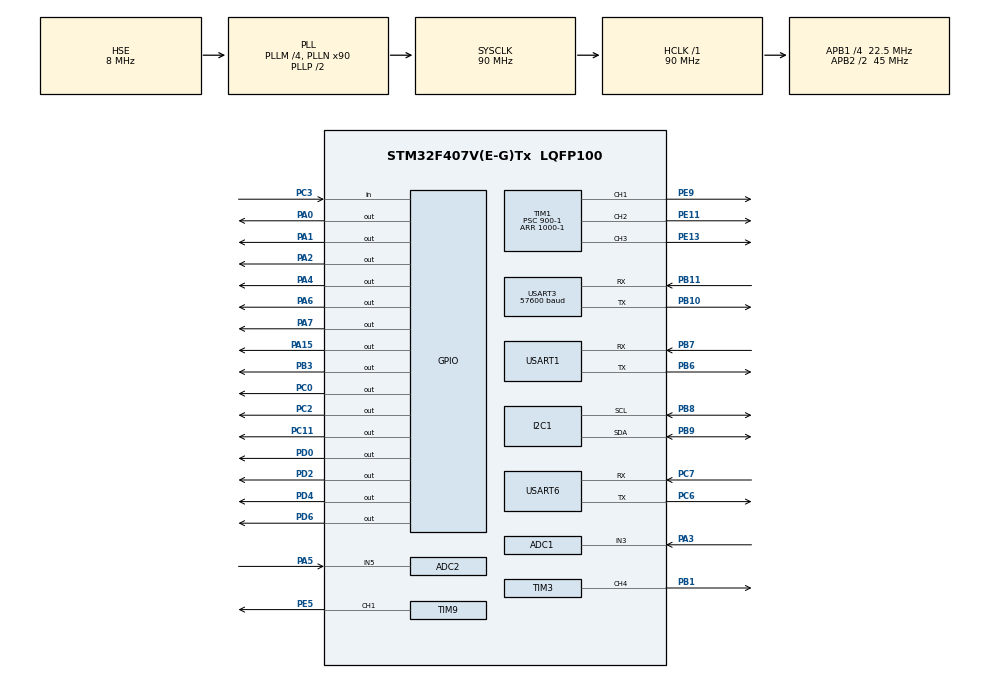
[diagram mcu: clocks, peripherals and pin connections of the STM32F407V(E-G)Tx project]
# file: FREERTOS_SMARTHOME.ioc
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ADC1.Channel-0\#ChannelRegularConversion=ADC_CHANNEL_3
ADC1.ClockPrescaler=ADC_CLOCK_SYNC_PCLK_DIV4
ADC1.NbrOfConversionFlag=1
ADC1.Rank-0\#ChannelRegularConversion=1
ADC1.SamplingTime-0\#ChannelRegularConversion=ADC_SAMPLETIME_3CYCLES
ADC1.master=1
ADC2.Channel-0\#ChannelRegularConversion=ADC_CHANNEL_5
ADC2.ClockPrescaler=ADC_CLOCK_SYNC_PCLK_DIV4
ADC2.NbrOfConversionFlag=1
ADC2.Rank-0\#ChannelRegularConversion=1
ADC2.SamplingTime-0\#ChannelRegularConversion=ADC_SAMPLETIME_3CYCLES
FREERTOS.Tasks01=Read_sensor,0,128,Read_sensorTask,Default,NULL,Dynamic,NULL,NULL;Finger_print,-2,128,Finger_printTask,Default,NULL,Dynamic,NULL,NULL;Uart_read,2,128,Uart_readTask,Default,NULL,Dynamic,NULL,NULL
Mcu.Family=STM32F4
Mcu.Name=STM32F407V(E-G)Tx
Mcu.Package=LQFP100
NVIC.PriorityGroup=NVIC_PRIORITYGROUP_4
NVIC.TIM1_UP_TIM10_IRQn=true\:0\:0\:false\:false\:true\:false\:false\:true
NVIC.TimeBase=TIM1_UP_TIM10_IRQn
NVIC.TimeBaseIP=TIM10
NVIC.USART1_IRQn=true\:5\:0\:false\:false\:true\:true\:true\:true
NVIC.USART3_IRQn=true\:5\:0\:false\:false\:true\:true\:true\:true
NVIC.USART6_IRQn=true\:5\:0\:false\:false\:true\:true\:true\:true
PA0-WKUP.Signal=GPIO_Output
PA1.Signal=GPIO_Output
PA15.Signal=GPIO_Output
PA2.Signal=GPIO_Output
PA3.Signal=ADCx_IN3
PA4.Signal=GPIO_Output
PA5.Signal=ADCx_IN5
PA6.Signal=GPIO_Output
PA7.Signal=GPIO_Output
PB1.Signal=S_TIM3_CH4
PB10.Mode=Asynchronous
PB10.Signal=USART3_TX
PB11.Mode=Asynchronous
PB11.Signal=USART3_RX
PB3.Signal=GPIO_Output
PB6.Mode=Asynchronous
PB6.Signal=USART1_TX
PB7.Mode=Asynchronous
PB7.Signal=USART1_RX
PB8.Mode=I2C
PB8.Signal=I2C1_SCL
PB9.Mode=I2C
PB9.Signal=I2C1_SDA
PC0.Signal=GPIO_Output
PC11.Signal=GPIO_Output
PC2.Signal=GPIO_Output
PC3.Signal=GPIO_Input
PC6.Mode=Asynchronous
PC6.Signal=USART6_TX
PC7.Mode=Asynchronous
PC7.Signal=USART6_RX
PD0.Signal=GPIO_Output
PD2.Signal=GPIO_Output
PD4.Signal=GPIO_Output
PD6.Signal=GPIO_Output
PE11.Signal=S_TIM1_CH2
PE13.Signal=S_TIM1_CH3
PE5.Signal=S_TIM9_CH1
PE9.Signal=S_TIM1_CH1
PH0-OSC_IN.Mode=HSE-External-Oscillator
PH0-OSC_IN.Signal=RCC_OSC_IN
PH1-OSC_OUT.Mode=HSE-External-Oscillator
PH1-OSC_OUT.Signal=RCC_OSC_OUT
ProjectManager.HeapSize=0x200
ProjectManager.StackSize=0x400
ProjectManager.TargetToolchain=MDK-ARM V5
RCC.48MHZClocksFreq_Value=45000000
RCC.AHBFreq_Value=90000000
RCC.APB1CLKDivider=RCC_HCLK_DIV4
RCC.APB1Freq_Value=22500000
RCC.APB1TimFreq_Value=45000000
RCC.APB2CLKDivider=RCC_HCLK_DIV2
RCC.APB2Freq_Value=45000000
RCC.APB2TimFreq_Value=90000000
RCC.CortexFreq_Value=90000000
RCC.HCLKFreq_Value=90000000
RCC.HSE_VALUE=8000000
RCC.HSI_VALUE=16000000
RCC.LSE_VALUE=32768
RCC.PLLM=4
RCC.PLLN=90
RCC.PLLSourceVirtual=RCC_PLLSOURCE_HSE
RCC.SYSCLKFreq_VALUE=90000000
RCC.SYSCLKSource=RCC_SYSCLKSOURCE_PLLCLK
RCC.VCOOutputFreq_Value=180000000
SH.ADCx_IN3.0=ADC1_IN3,IN3
SH.ADCx_IN5.0=ADC2_IN5,IN5
SH.S_TIM1_CH1.0=TIM1_CH1,PWM Generation1 CH1
SH.S_TIM1_CH2.0=TIM1_CH2,PWM Generation2 CH2
SH.S_TIM1_CH3.0=TIM1_CH3,PWM Generation3 CH3
SH.S_TIM3_CH4.0=TIM3_CH4,PWM Generation4 CH4
SH.S_TIM9_CH1.0=TIM9_CH1,PWM Generation1 CH1
TIM1.Channel-PWM\ Generation1\ CH1=TIM_CHANNEL_1
TIM1.Channel-PWM\ Generation2\ CH2=TIM_CHANNEL_2
TIM1.Channel-PWM\ Generation3\ CH3=TIM_CHANNEL_3
TIM1.Period=1000-1
TIM1.Prescaler=900-1
TIM3.Channel-PWM\ Generation4\ CH4=TIM_CHANNEL_4
TIM3.Period=1000-1
TIM3.Prescaler=900-1
TIM9.Channel-PWM\ Generation1\ CH1=TIM_CHANNEL_1
TIM9.Period=100-1
TIM9.Prescaler=900-1
USART1.VirtualMode=VM_ASYNC
USART3.BaudRate=57600
USART3.VirtualMode=VM_ASYNC
USART6.VirtualMode=VM_ASYNC
VP_FREERTOS_VS_CMSIS_V1.Mode=CMSIS_V1
VP_SYS_VS_tim10.Mode=TIM10
VP_TIM1_VS_ClockSourceINT.Mode=Internal
VP_TIM3_VS_ClockSourceINT.Mode=Internal
VP_TIM9_VS_ClockSourceINT.Mode=Internal
board=custom

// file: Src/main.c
#include "main.h"
#include "cmsis_os.h"

#include "stdio.h"
#include "string.h"
/* USER CODE BEGIN Includes */
#include "dht11.h"
#include "GAS.h"
#include "lcd_16x2.h"
#include "lcd_20x4.h"
#include "Light_sensor.h"
#include "music.h"
#include "PIR.h"
#include "Rain.h"
#include "Servo.h"
#include "finger.h"
#include "lib_keypad.h"
/* USER CODE END Includes */

ADC_HandleTypeDef hadc1;
ADC_HandleTypeDef hadc2;

I2C_HandleTypeDef hi2c1;

TIM_HandleTypeDef htim1;
TIM_HandleTypeDef htim3;
TIM_HandleTypeDef htim9;

UART_HandleTypeDef huart1;
UART_HandleTypeDef huart3;
UART_HandleTypeDef huart6;

osThreadId Read_sensorHandle;
osThreadId Finger_printHandle;
osThreadId Uart_readHandle;

void SystemClock_Config(void);
static void MX_GPIO_Init(void);
static void MX_ADC1_Init(void);
static void MX_ADC2_Init(void);
static void MX_I2C1_Init(void);
static void MX_TIM1_Init(void);
static void MX_TIM3_Init(void);
static void MX_TIM9_Init(void);
static void MX_USART1_UART_Init(void);
static void MX_USART3_UART_Init(void);
static void MX_USART6_UART_Init(void);
void Read_sensorTask(void const * argument);
void Finger_printTask(void const * argument);
void Uart_readTask(void const * argument);

/* USER CODE BEGIN PFP */
/* Data read DHT11 */
unsigned char data_read_dht11[4];

/* Data old */
unsigned char data_old_dht11[4];
uint16_t gas_data_old = 0;
uint8_t pir_data_old = 0;
uint8_t rain_data_old = 0;
uint8_t light_data_old = 0;

/* Data before read sensor, wait to send */
char data_send_DHT11[17];
char data_send_GAS[14];
char data_send_PIR[7];
char data_send_RAIN[8];
char data_send_Light_sensor[9];

/* Data before update status */
char data_send_LED1[8];
char data_send_LED2[8];
char data_send_LED3[8];
char data_send_LED4[8];
char data_send_SECURITY[12];
char data_send_RELAY[9];
char data_send_FAN1[8];
char data_send_FAN2[8];
char data_send_ERASE[9]; //to erase flash EEPROM

//state will change, using to control device
int FAN1_state = 0;
int FAN2_state = 0;
int RELAY_state = 0;
int LED1_state = 0;
int LED2_state = 0;
int LED3_state = 0;
int LED4_state = 0;
int DOOR_state = 0;

int FAN1_old_state = 0;
int FAN2_old_state = 0;
int RELAY_old_state = 0;
int LED1_old_state = 0;
int LED2_old_state = 0;
int LED3_old_state = 0;
int LED4_old_state = 0;
int DOOR_old_state = 0;

/* USER CODE END PFP */

/* USER CODE BEGIN 0 */
/* Code for comunication with esp8266 using UART 1 and UART 6 */

/*	define */
#define txBuf_size 30
#define rxBuf_size 10

char tx_Buf[txBuf_size];
char rx_Buf[rxBuf_size];

char rxBuf_receive[2];
uint16_t rx_Index = 0;
char temp_receive[rxBuf_size]; //data temp read from esp
/* */
/* Function to work with FAN, LED, DOOR, RELAY */
#define ON 		1
#define OFF 	0

void control_Fan(int dir, int state){
		if (dir == 1){
			//control FAN 1 at PC2
			HAL_GPIO_WritePin(GPIOC, GPIO_PIN_2, state);
		}
		if (dir == 2){
			//control FAN 2 at PC0
			HAL_GPIO_WritePin(GPIOC, GPIO_PIN_0, state);
		}
}

void control_LED(int dir, int state){
		if (dir == 1){
			//control LED 1 at PA6
			HAL_GPIO_WritePin(GPIOA, GPIO_PIN_6, state);
		}
		if (dir == 2){
			//control LED 2 at PA4
			HAL_GPIO_WritePin(GPIOA, GPIO_PIN_4, state);
		}
		if (dir == 3){
			//control LED 3 at PA2
			HAL_GPIO_WritePin(GPIOA, GPIO_PIN_2, state);
		}
		if (dir == 4){
			//control LED 4 at PA0
			HAL_GPIO_WritePin(GPIOA, GPIO_PIN_0, state);
		}
}

void control_DOOR(int state){
	//init before
}

void control_RELAY(int state){
	//init before
}
void blink_led(){
	HAL_GPIO_TogglePin(GPIOA, GPIO_PIN_6);
}

/* Function to comunication */

static void serial_write(void* data, size_t len){
	HAL_UART_Transmit(&huart1, (uint8_t*)data, (uint16_t)len, 100);
}

void serial_send_cmd(char data[]){
		char line[txBuf_size];
		snprintf(line, sizeof(line), "%s\r\n", data);
		serial_write(line, strlen(line));
}

char* serial_read(){
	strcpy(temp_receive, rx_Buf);
	return temp_receive;
}

/* function to check connect wifi */
int check_wifi(){
	char temp[2];
	if (strncmp(serial_read(),"wifi",4)==0){
		temp[0] = temp_receive[4];
		if (temp[0] == '0'){
			return 0; //disconnected
		}
		if (temp[0] == '1'){
			return 1; //connected
		}
		if (temp[0] == '2'){
			return 2; //smartconfig
		}
	}
}

/* Function to read sensor */
void readSensor(){
		read_DHT11(data_read_dht11);
		if ((data_old_dht11[0] != data_read_dht11[0])||(data_old_dht11[2] != data_read_dht11[2])||(data_old_dht11[1] != data_read_dht11[1])||(data_old_dht11[3] != data_read_dht11[3])){
			memcpy(data_old_dht11, data_read_dht11, 4);
			//meaning data change
			sprintf(data_send_DHT11, "DHT11 %d.%d %d.%d\r\n" ,data_old_dht11[2],data_old_dht11[3],data_old_dht11[0],data_old_dht11[1]);
			serial_write(data_send_DHT11, strlen(data_send_DHT11));
			HAL_Delay(500);
		}
		/* To test, maybe use state to control device, update before */
//		if (pir_data_old != read_PIR()){
//			pir_data_old = read_PIR();
//			sprintf(data_send_PIR, "PIR %d\r\n" ,pir_data_old);
//			serial_write(data_send_PIR, strlen(data_send_PIR));
//			HAL_Delay(200);
//		}
//		if (rain_data_old != read_Rain(1000)){
//			rain_data_old = read_Rain(1000);
//			sprintf(data_send_RAIN, "RAIN %d\r\n" ,rain_data_old);
//			serial_write(data_send_RAIN, strlen(data_send_PIR));
//			HAL_Delay(200);
//		}
//		if (light_data_old != read_Light_sensor()){
//			light_data_old = read_Light_sensor();
//			sprintf(data_send_Light_sensor, "LIGHT %d\r\n" ,light_data_old);
//			serial_write(data_send_Light_sensor, strlen(data_send_Light_sensor));
//			HAL_Delay(200);
//		}

		uint16_t c = 0; //do thay doi cua cam bien gas
		c = (gas_data_old > read_GAS()) ? gas_data_old - read_GAS(): read_GAS() - gas_data_old;
		if (c > 0){
			gas_data_old = read_GAS();
			sprintf(data_send_GAS, "GAS %d\r\n" ,gas_data_old);
			serial_write(data_send_GAS, strlen(data_send_GAS));
			HAL_Delay(500);
		}
}

void sendSensor(){
		//Nothing hear
		HAL_Delay(10);
}

/* stream Firebase */
void stream(){
	char temp[2];
	//stream FAN state
	if (strncmp(serial_read(),"FAN1",4)==0){
		temp[0] = temp_receive[4];
		if (temp[0] == '0'){
			FAN1_state = 0;
		}
		if (temp[0] == '1'){
			FAN1_state = 1;
		}
	}
	if (strncmp(serial_read(),"FAN2",4)==0){
		temp[0] = temp_receive[4];
		if (temp[0] == '0'){
			FAN2_state = 0;
		}
		if (temp[0] == '1'){
			FAN2_state = 1;
		}
	}
	//stream RELAY state
	if (strncmp(serial_read(),"RELAY",4)==0){
		temp[0] = temp_receive[4];
		if (temp[0] == '0'){
			RELAY_state = 0;
		}
		if (temp[0] == '1'){
			RELAY_state = 1;
		}
	}
	//stream LED1 state
	if (strncmp(serial_read(),"LED1",4)==0){
		temp[0] = temp_receive[4];
		if (temp[0] == '0'){
			LED1_state = 0;
		}
		if (temp[0] == '1'){
			LED1_state = 1;
		}
	}
	//stream LED2 state
	if (strncmp(serial_read(),"LED2",4)==0){
		temp[0] = temp_receive[4];
		if (temp[0] == '0'){
			LED2_state = 0;
		}
		if (temp[0] == '1'){
			LED2_state = 1;
		}
	}
	//stream lED3 state
	if (strncmp(serial_read(),"LED3",4)==0){
		temp[0] = temp_receive[4];
		if (temp[0] == '0'){
			LED3_state = 0;
		}
		if (temp[0] == '1'){
			LED3_state = 1;
		}
	}
	//stream LED4 state
	if (strncmp(serial_read(),"LED4",4)==0){
		temp[0] = temp_receive[4];
		if (temp[0] == '0'){
			LED4_state = 0;
		}
		if (temp[0] == '1'){
			LED4_state = 1;
		}
	}
	//stream DOOR state
	if (strncmp(serial_read(),"DOOR",4)==0){
		temp[0] = temp_receive[4];
		if (temp[0] == '0'){
			DOOR_state = 0;
		}
		if (temp[0] == '1'){
			DOOR_state = 1;
		}
	}
}

void send_stream(){
	if (LED1_state != LED1_old_state){
		LED1_old_state = LED1_state;
		sprintf(data_send_LED1, "LED1 %d\r\n" ,LED1_old_state);
		serial_write(data_send_LED1, strlen(data_send_LED1));
		HAL_Delay(200);
	}
	if (LED2_state != LED2_old_state){
		LED2_old_state = LED2_state;
		sprintf(data_send_LED2, "LED2 %d\r\n" ,LED2_old_state);
		serial_write(data_send_LED2, strlen(data_send_LED2));
		HAL_Delay(200);
	}

	if (LED3_state != LED3_old_state){
		LED3_old_state = LED3_state;
		sprintf(data_send_LED3, "LED3 %d\r\n" ,LED3_old_state);
		serial_write(data_send_LED3, strlen(data_send_LED3));
		HAL_Delay(200);
	}
	if (LED4_state != LED4_old_state){
		LED4_old_state = LED4_state;
		sprintf(data_send_LED4, "LED4 %d\r\n" ,LED4_old_state);
		serial_write(data_send_LED4, strlen(data_send_LED4));
		HAL_Delay(200);
	}
	if (RELAY_state != RELAY_old_state){
		RELAY_old_state = RELAY_state;
		sprintf(data_send_RELAY, "RELAY %d\r\n" ,RELAY_old_state);
		serial_write(data_send_RELAY, strlen(data_send_RELAY));
		HAL_Delay(200);
	}
	if (FAN1_state != FAN1_old_state){
		FAN1_old_state = FAN1_state;
		sprintf(data_send_FAN1, "FAN1 %d\r\n" ,FAN1_old_state);
		serial_write(data_send_FAN1, strlen(data_send_FAN1));
		HAL_Delay(200);
	}
	if (FAN2_state != FAN2_old_state){
		FAN2_old_state = FAN2_state;
		sprintf(data_send_FAN2, "FAN2 %d\r\n" ,FAN2_old_state);
		serial_write(data_send_FAN2, strlen(data_send_FAN2));
		HAL_Delay(200);
	}
	if (DOOR_state != DOOR_old_state){
		DOOR_old_state = DOOR_state;
		sprintf(data_send_SECURITY, "SECURITY %d\r\n" ,DOOR_old_state);
		serial_write(data_send_SECURITY, strlen(data_send_SECURITY));
		HAL_Delay(200);
	}
}

/* Final control all :LED, FAN, DOOR, RELAY, .....*/
void control_HOME(){
	//control_Fan(1, FAN_old_state);
	control_LED(2, LED2_old_state); //Tam thoi chua su dung LED1
	control_LED(3, LED3_old_state);
	control_LED(4, LED4_old_state);
	//control_DOOR(DOOR_old_state);
	//control_RELAY(RELAY_old_state);
}

/* Code for comunication with R305 using UART 3*/
int p = -1;
uint8_t txBuf[32];
uint8_t rxBuf[32];
uint8_t rxData;
uint8_t rxIndex = 0;
//uint16_t RxLastTime = 0;
uint8_t PageID = 122;
uint8_t test = 0, key = 0;
/* ...........................Update ........................*/

/* Receive using ISR */
void HAL_UART_RxCpltCallback(UART_HandleTypeDef *UartHandle)
{
  /* Prevent unused argument(s) compilation warning */
	if(UartHandle->Instance==USART6){
		if (rx_Index == 0){
			for(int i = 0; i < rxBuf_size; i++){
				rx_Buf[i] = 0;
			}
		}
		if (rxBuf_receive[0] != 10){
			rx_Buf[rx_Index]=rxBuf_receive[0];
			rx_Index++;
		}
		else{
				rx_Index = 0;
		}
		HAL_UART_Receive_IT(&huart6 , (uint8_t*)rxBuf_receive, 1);
	}

	if(UartHandle->Instance==USART3){
		rxBuf[rxIndex] = rxData;
		if (rxIndex < (sizeof(rxBuf)-2))
			rxIndex++;
		HAL_UART_Receive_IT(&huart3, &rxData, 1);
  }
}
/* USER CODE END 0 */

int main(void)
{

  /* MCU Configuration--------------------------------------------------------*/

  /* Reset of all peripherals, Initializes the Flash interface and the Systick. */
  HAL_Init();

  /* Configure the system clock */
  SystemClock_Config();

  /* Initialize all configured peripherals */
  MX_GPIO_Init();
  MX_ADC1_Init();
  MX_ADC2_Init();
  MX_I2C1_Init();
  MX_TIM1_Init();
  MX_TIM3_Init();
  MX_TIM9_Init();
  MX_USART1_UART_Init();
  MX_USART3_UART_Init();
  MX_USART6_UART_Init();
  /* USER CODE BEGIN 2 */
	music_Init();
	servo_Init();
	DHT11_Init();

//	LCD_20x4_i2cDeviceCheck();
//	LCD_20x4_Init();
//	LCD_20x4_BackLight(LCD_BL_ON);
//	LCD_20x4_SetCursor(1,1);
//	LCD_20x4_Send_String("A: Quet van tay",STR_NOSLIDE);
//	LCD_20x4_SetCursor(2,1);
//	LCD_20x4_Send_String("B: Nhap mat khau",STR_NOSLIDE);

	/* Begin receive data from uart 3 and uart 6*/
	HAL_UART_Receive_IT(&huart6 , (uint8_t*)rxBuf_receive, 1);
	HAL_UART_Receive_IT(&huart3, &rxData, 1);
  /* USER CODE END 2 */

  /* Create the thread(s) */
  /* definition and creation of Read_sensor */
  osThreadDef(Read_sensor, Read_sensorTask, osPriorityRealtime, 0, 128);
  Read_sensorHandle = osThreadCreate(osThread(Read_sensor), NULL);

  /* definition and creation of Finger_print */
  osThreadDef(Finger_print, Finger_printTask, osPriorityNormal, 0, 128);
  Finger_printHandle = osThreadCreate(osThread(Finger_print), NULL);

  /* definition and creation of Uart_read */
  osThreadDef(Uart_read, Uart_readTask, osPriorityHigh, 0, 128);
  Uart_readHandle = osThreadCreate(osThread(Uart_read), NULL);

  /* Start scheduler */
  osKernelStart();

  /* We should never get here as control is now taken by the scheduler */

  /* Infinite loop */
  while (1)
  {

  }
}

void SystemClock_Config(void)
{
  RCC_OscInitTypeDef RCC_OscInitStruct = {0};
  RCC_ClkInitTypeDef RCC_ClkInitStruct = {0};

  /** Configure the main internal regulator output voltage
  */
  __HAL_RCC_PWR_CLK_ENABLE();
  __HAL_PWR_VOLTAGESCALING_CONFIG(PWR_REGULATOR_VOLTAGE_SCALE1);
  /** Initializes the CPU, AHB and APB busses clocks
  */
  RCC_OscInitStruct.OscillatorType = RCC_OSCILLATORTYPE_HSE;
  RCC_OscInitStruct.HSEState = RCC_HSE_ON;
  RCC_OscInitStruct.PLL.PLLState = RCC_PLL_ON;
  RCC_OscInitStruct.PLL.PLLSource = RCC_PLLSOURCE_HSE;
  RCC_OscInitStruct.PLL.PLLM = 4;
  RCC_OscInitStruct.PLL.PLLN = 90;
  RCC_OscInitStruct.PLL.PLLP = RCC_PLLP_DIV2;
  RCC_OscInitStruct.PLL.PLLQ = 4;
  if (HAL_RCC_OscConfig(&RCC_OscInitStruct) != HAL_OK)
  {
    Error_Handler();
  }
  /** Initializes the CPU, AHB and APB busses clocks
  */
  RCC_ClkInitStruct.ClockType = RCC_CLOCKTYPE_HCLK|RCC_CLOCKTYPE_SYSCLK
                              |RCC_CLOCKTYPE_PCLK1|RCC_CLOCKTYPE_PCLK2;
  RCC_ClkInitStruct.SYSCLKSource = RCC_SYSCLKSOURCE_PLLCLK;
  RCC_ClkInitStruct.AHBCLKDivider = RCC_SYSCLK_DIV1;
  RCC_ClkInitStruct.APB1CLKDivider = RCC_HCLK_DIV4;
  RCC_ClkInitStruct.APB2CLKDivider = RCC_HCLK_DIV2;

  if (HAL_RCC_ClockConfig(&RCC_ClkInitStruct, FLASH_LATENCY_2) != HAL_OK)
  {
    Error_Handler();
  }
}

static void MX_ADC1_Init(void)
{

  ADC_ChannelConfTypeDef sConfig = {0};

  /** Configure the global features of the ADC (Clock, Resolution, Data Alignment and number of conversion)
  */
  hadc1.Instance = ADC1;
  hadc1.Init.ClockPrescaler = ADC_CLOCK_SYNC_PCLK_DIV4;
  hadc1.Init.Resolution = ADC_RESOLUTION_12B;
  hadc1.Init.ScanConvMode = DISABLE;
  hadc1.Init.ContinuousConvMode = DISABLE;
  hadc1.Init.DiscontinuousConvMode = DISABLE;
  hadc1.Init.ExternalTrigConvEdge = ADC_EXTERNALTRIGCONVEDGE_NONE;
  hadc1.Init.ExternalTrigConv = ADC_SOFTWARE_START;
  hadc1.Init.DataAlign = ADC_DATAALIGN_RIGHT;
  hadc1.Init.NbrOfConversion = 1;
  hadc1.Init.DMAContinuousRequests = DISABLE;
  hadc1.Init.EOCSelection = ADC_EOC_SINGLE_CONV;
  if (HAL_ADC_Init(&hadc1) != HAL_OK)
  {
    Error_Handler();
  }
  /** Configure for the selected ADC regular channel its corresponding rank in the sequencer and its sample time.
  */
  sConfig.Channel = ADC_CHANNEL_3;
  sConfig.Rank = 1;
  sConfig.SamplingTime = ADC_SAMPLETIME_3CYCLES;
  if (HAL_ADC_ConfigChannel(&hadc1, &sConfig) != HAL_OK)
  {
    Error_Handler();
  }

}

static void MX_ADC2_Init(void)
{

  ADC_ChannelConfTypeDef sConfig = {0};

  /** Configure the global features of the ADC (Clock, Resolution, Data Alignment and number of conversion)
  */
  hadc2.Instance = ADC2;
  hadc2.Init.ClockPrescaler = ADC_CLOCK_SYNC_PCLK_DIV4;
  hadc2.Init.Resolution = ADC_RESOLUTION_12B;
  hadc2.Init.ScanConvMode = DISABLE;
  hadc2.Init.ContinuousConvMode = DISABLE;
  hadc2.Init.DiscontinuousConvMode = DISABLE;
  hadc2.Init.ExternalTrigConvEdge = ADC_EXTERNALTRIGCONVEDGE_NONE;
  hadc2.Init.ExternalTrigConv = ADC_SOFTWARE_START;
  hadc2.Init.DataAlign = ADC_DATAALIGN_RIGHT;
  hadc2.Init.NbrOfConversion = 1;
  hadc2.Init.DMAContinuousRequests = DISABLE;
  hadc2.Init.EOCSelection = ADC_EOC_SINGLE_CONV;
  if (HAL_ADC_Init(&hadc2) != HAL_OK)
  {
    Error_Handler();
  }
  /** Configure for the selected ADC regular channel its corresponding rank in the sequencer and its sample time.
  */
  sConfig.Channel = ADC_CHANNEL_5;
  sConfig.Rank = 1;
  sConfig.SamplingTime = ADC_SAMPLETIME_3CYCLES;
  if (HAL_ADC_ConfigChannel(&hadc2, &sConfig) != HAL_OK)
  {
    Error_Handler();
  }

}

static void MX_I2C1_Init(void)
{

  hi2c1.Instance = I2C1;
  hi2c1.Init.ClockSpeed = 100000;
  hi2c1.Init.DutyCycle = I2C_DUTYCYCLE_2;
  hi2c1.Init.OwnAddress1 = 0;
  hi2c1.Init.AddressingMode = I2C_ADDRESSINGMODE_7BIT;
  hi2c1.Init.DualAddressMode = I2C_DUALADDRESS_DISABLE;
  hi2c1.Init.OwnAddress2 = 0;
  hi2c1.Init.GeneralCallMode = I2C_GENERALCALL_DISABLE;
  hi2c1.Init.NoStretchMode = I2C_NOSTRETCH_DISABLE;
  if (HAL_I2C_Init(&hi2c1) != HAL_OK)
  {
    Error_Handler();
  }

}

static void MX_TIM1_Init(void)
{

  TIM_ClockConfigTypeDef sClockSourceConfig = {0};
  TIM_MasterConfigTypeDef sMasterConfig = {0};
  TIM_OC_InitTypeDef sConfigOC = {0};
  TIM_BreakDeadTimeConfigTypeDef sBreakDeadTimeConfig = {0};

  htim1.Instance = TIM1;
  htim1.Init.Prescaler = 900-1;
  htim1.Init.CounterMode = TIM_COUNTERMODE_UP;
  htim1.Init.Period = 1000-1;
  htim1.Init.ClockDivision = TIM_CLOCKDIVISION_DIV1;
  htim1.Init.RepetitionCounter = 0;
  htim1.Init.AutoReloadPreload = TIM_AUTORELOAD_PRELOAD_DISABLE;
  if (HAL_TIM_Base_Init(&htim1) != HAL_OK)
  {
    Error_Handler();
  }
  sClockSourceConfig.ClockSource = TIM_CLOCKSOURCE_INTERNAL;
  if (HAL_TIM_ConfigClockSource(&htim1, &sClockSourceConfig) != HAL_OK)
  {
    Error_Handler();
  }
  if (HAL_TIM_PWM_Init(&htim1) != HAL_OK)
  {
    Error_Handler();
  }
  sMasterConfig.MasterOutputTrigger = TIM_TRGO_RESET;
  sMasterConfig.MasterSlaveMode = TIM_MASTERSLAVEMODE_DISABLE;
  if (HAL_TIMEx_MasterConfigSynchronization(&htim1, &sMasterConfig) != HAL_OK)
  {
    Error_Handler();
  }
  sConfigOC.OCMode = TIM_OCMODE_PWM1;
  sConfigOC.Pulse = 0;
  sConfigOC.OCPolarity = TIM_OCPOLARITY_HIGH;
  sConfigOC.OCNPolarity = TIM_OCNPOLARITY_HIGH;
  sConfigOC.OCFastMode = TIM_OCFAST_DISABLE;
  sConfigOC.OCIdleState = TIM_OCIDLESTATE_RESET;
  sConfigOC.OCNIdleState = TIM_OCNIDLESTATE_RESET;
  if (HAL_TIM_PWM_ConfigChannel(&htim1, &sConfigOC, TIM_CHANNEL_1) != HAL_OK)
  {
    Error_Handler();
  }
  if (HAL_TIM_PWM_ConfigChannel(&htim1, &sConfigOC, TIM_CHANNEL_2) != HAL_OK)
  {
    Error_Handler();
  }
  if (HAL_TIM_PWM_ConfigChannel(&htim1, &sConfigOC, TIM_CHANNEL_3) != HAL_OK)
  {
    Error_Handler();
  }
  sBreakDeadTimeConfig.OffStateRunMode = TIM_OSSR_DISABLE;
  sBreakDeadTimeConfig.OffStateIDLEMode = TIM_OSSI_DISABLE;
  sBreakDeadTimeConfig.LockLevel = TIM_LOCKLEVEL_OFF;
  sBreakDeadTimeConfig.DeadTime = 0;
  sBreakDeadTimeConfig.BreakState = TIM_BREAK_DISABLE;
  sBreakDeadTimeConfig.BreakPolarity = TIM_BREAKPOLARITY_HIGH;
  sBreakDeadTimeConfig.AutomaticOutput = TIM_AUTOMATICOUTPUT_DISABLE;
  if (HAL_TIMEx_ConfigBreakDeadTime(&htim1, &sBreakDeadTimeConfig) != HAL_OK)
  {
    Error_Handler();
  }
  HAL_TIM_MspPostInit(&htim1);

}

static void MX_TIM3_Init(void)
{

  TIM_ClockConfigTypeDef sClockSourceConfig = {0};
  TIM_MasterConfigTypeDef sMasterConfig = {0};
  TIM_OC_InitTypeDef sConfigOC = {0};

  htim3.Instance = TIM3;
  htim3.Init.Prescaler = 900-1;
  htim3.Init.CounterMode = TIM_COUNTERMODE_UP;
  htim3.Init.Period = 1000-1;
  htim3.Init.ClockDivision = TIM_CLOCKDIVISION_DIV1;
  htim3.Init.AutoReloadPreload = TIM_AUTORELOAD_PRELOAD_DISABLE;
  if (HAL_TIM_Base_Init(&htim3) != HAL_OK)
  {
    Error_Handler();
  }
  sClockSourceConfig.ClockSource = TIM_CLOCKSOURCE_INTERNAL;
  if (HAL_TIM_ConfigClockSource(&htim3, &sClockSourceConfig) != HAL_OK)
  {
    Error_Handler();
  }
  if (HAL_TIM_PWM_Init(&htim3) != HAL_OK)
  {
    Error_Handler();
  }
  sMasterConfig.MasterOutputTrigger = TIM_TRGO_RESET;
  sMasterConfig.MasterSlaveMode = TIM_MASTERSLAVEMODE_DISABLE;
  if (HAL_TIMEx_MasterConfigSynchronization(&htim3, &sMasterConfig) != HAL_OK)
  {
    Error_Handler();
  }
  sConfigOC.OCMode = TIM_OCMODE_PWM1;
  sConfigOC.Pulse = 0;
  sConfigOC.OCPolarity = TIM_OCPOLARITY_HIGH;
  sConfigOC.OCFastMode = TIM_OCFAST_DISABLE;
  if (HAL_TIM_PWM_ConfigChannel(&htim3, &sConfigOC, TIM_CHANNEL_4) != HAL_OK)
  {
    Error_Handler();
  }
  HAL_TIM_MspPostInit(&htim3);

}

static void MX_TIM9_Init(void)
{

  TIM_ClockConfigTypeDef sClockSourceConfig = {0};
  TIM_OC_InitTypeDef sConfigOC = {0};

  htim9.Instance = TIM9;
  htim9.Init.Prescaler = 900-1;
  htim9.Init.CounterMode = TIM_COUNTERMODE_UP;
  htim9.Init.Period = 100-1;
  htim9.Init.ClockDivision = TIM_CLOCKDIVISION_DIV1;
  htim9.Init.AutoReloadPreload = TIM_AUTORELOAD_PRELOAD_DISABLE;
  if (HAL_TIM_Base_Init(&htim9) != HAL_OK)
  {
    Error_Handler();
  }
  sClockSourceConfig.ClockSource = TIM_CLOCKSOURCE_INTERNAL;
  if (HAL_TIM_ConfigClockSource(&htim9, &sClockSourceConfig) != HAL_OK)
  {
    Error_Handler();
  }
  if (HAL_TIM_PWM_Init(&htim9) != HAL_OK)
  {
    Error_Handler();
  }
  sConfigOC.OCMode = TIM_OCMODE_PWM1;
  sConfigOC.Pulse = 0;
  sConfigOC.OCPolarity = TIM_OCPOLARITY_HIGH;
  sConfigOC.OCFastMode = TIM_OCFAST_DISABLE;
  if (HAL_TIM_PWM_ConfigChannel(&htim9, &sConfigOC, TIM_CHANNEL_1) != HAL_OK)
  {
    Error_Handler();
  }
  HAL_TIM_MspPostInit(&htim9);

}

static void MX_USART1_UART_Init(void)
{

  huart1.Instance = USART1;
  huart1.Init.BaudRate = 115200;
  huart1.Init.WordLength = UART_WORDLENGTH_8B;
  huart1.Init.StopBits = UART_STOPBITS_1;
  huart1.Init.Parity = UART_PARITY_NONE;
  huart1.Init.Mode = UART_MODE_TX_RX;
  huart1.Init.HwFlowCtl = UART_HWCONTROL_NONE;
  huart1.Init.OverSampling = UART_OVERSAMPLING_16;
  if (HAL_UART_Init(&huart1) != HAL_OK)
  {
    Error_Handler();
  }

}

static void MX_USART3_UART_Init(void)
{

  huart3.Instance = USART3;
  huart3.Init.BaudRate = 57600;
  huart3.Init.WordLength = UART_WORDLENGTH_8B;
  huart3.Init.StopBits = UART_STOPBITS_1;
  huart3.Init.Parity = UART_PARITY_NONE;
  huart3.Init.Mode = UART_MODE_TX_RX;
  huart3.Init.HwFlowCtl = UART_HWCONTROL_NONE;
  huart3.Init.OverSampling = UART_OVERSAMPLING_16;
  if (HAL_UART_Init(&huart3) != HAL_OK)
  {
    Error_Handler();
  }

}

static void MX_USART6_UART_Init(void)
{

  huart6.Instance = USART6;
  huart6.Init.BaudRate = 115200;
  huart6.Init.WordLength = UART_WORDLENGTH_8B;
  huart6.Init.StopBits = UART_STOPBITS_1;
  huart6.Init.Parity = UART_PARITY_NONE;
  huart6.Init.Mode = UART_MODE_TX_RX;
  huart6.Init.HwFlowCtl = UART_HWCONTROL_NONE;
  huart6.Init.OverSampling = UART_OVERSAMPLING_16;
  if (HAL_UART_Init(&huart6) != HAL_OK)
  {
    Error_Handler();
  }

}

static void MX_GPIO_Init(void)
{
  GPIO_InitTypeDef GPIO_InitStruct = {0};

  /* GPIO Ports Clock Enable */
  __HAL_RCC_GPIOE_CLK_ENABLE();
  __HAL_RCC_GPIOH_CLK_ENABLE();
  __HAL_RCC_GPIOC_CLK_ENABLE();
  __HAL_RCC_GPIOA_CLK_ENABLE();
  __HAL_RCC_GPIOB_CLK_ENABLE();
  __HAL_RCC_GPIOD_CLK_ENABLE();

  /*Configure GPIO pin Output Level */
  HAL_GPIO_WritePin(GPIOC, GPIO_PIN_0|GPIO_PIN_2|GPIO_PIN_11, GPIO_PIN_RESET);

  /*Configure GPIO pin Output Level */
  HAL_GPIO_WritePin(GPIOA, GPIO_PIN_0|GPIO_PIN_1|GPIO_PIN_2|GPIO_PIN_4
                          |GPIO_PIN_6|GPIO_PIN_7|GPIO_PIN_15, GPIO_PIN_RESET);

  /*Configure GPIO pin Output Level */
  HAL_GPIO_WritePin(GPIOD, GPIO_PIN_0|GPIO_PIN_2|GPIO_PIN_4|GPIO_PIN_6, GPIO_PIN_RESET);

  /*Configure GPIO pin Output Level */
  HAL_GPIO_WritePin(GPIOB, GPIO_PIN_3, GPIO_PIN_RESET);

  /*Configure GPIO pins : PC0 PC2 PC11 */
  GPIO_InitStruct.Pin = GPIO_PIN_0|GPIO_PIN_2|GPIO_PIN_11;
  GPIO_InitStruct.Mode = GPIO_MODE_OUTPUT_PP;
  GPIO_InitStruct.Pull = GPIO_NOPULL;
  GPIO_InitStruct.Speed = GPIO_SPEED_FREQ_LOW;
  HAL_GPIO_Init(GPIOC, &GPIO_InitStruct);

  /*Configure GPIO pin : PC3 */
  GPIO_InitStruct.Pin = GPIO_PIN_3;
  GPIO_InitStruct.Mode = GPIO_MODE_INPUT;
  GPIO_InitStruct.Pull = GPIO_NOPULL;
  HAL_GPIO_Init(GPIOC, &GPIO_InitStruct);

  /*Configure GPIO pins : PA0 PA1 PA2 PA4
                           PA6 PA7 PA15 */
  GPIO_InitStruct.Pin = GPIO_PIN_0|GPIO_PIN_1|GPIO_PIN_2|GPIO_PIN_4
                          |GPIO_PIN_6|GPIO_PIN_7|GPIO_PIN_15;
  GPIO_InitStruct.Mode = GPIO_MODE_OUTPUT_PP;
  GPIO_InitStruct.Pull = GPIO_NOPULL;
  GPIO_InitStruct.Speed = GPIO_SPEED_FREQ_LOW;
  HAL_GPIO_Init(GPIOA, &GPIO_InitStruct);

  /*Configure GPIO pins : PD0 PD2 PD4 PD6 */
  GPIO_InitStruct.Pin = GPIO_PIN_0|GPIO_PIN_2|GPIO_PIN_4|GPIO_PIN_6;
  GPIO_InitStruct.Mode = GPIO_MODE_OUTPUT_PP;
  GPIO_InitStruct.Pull = GPIO_NOPULL;
  GPIO_InitStruct.Speed = GPIO_SPEED_FREQ_LOW;
  HAL_GPIO_Init(GPIOD, &GPIO_InitStruct);

  /*Configure GPIO pin : PB3 */
  GPIO_InitStruct.Pin = GPIO_PIN_3;
  GPIO_InitStruct.Mode = GPIO_MODE_OUTPUT_PP;
  GPIO_InitStruct.Pull = GPIO_NOPULL;
  GPIO_InitStruct.Speed = GPIO_SPEED_FREQ_LOW;
  HAL_GPIO_Init(GPIOB, &GPIO_InitStruct);

}

void Read_sensorTask(void const * argument)
{
  /* Dat ten nham roi, sua lai thanh doc uart va sensor */
  /* Infinite loop */
  for(;;)
  {
		//readSensor();
		stream();
		send_stream();
		control_HOME();
    osDelay(100);
  }
  /* USER CODE END 5 */
}

void Finger_printTask(void const * argument)
{
  /* USER CODE BEGIN Finger_printTask */
  /* Infinite loop */
  for(;;)
  {
		//Enter();
    osDelay(100);
  }
  /* USER CODE END Finger_printTask */
}

void Uart_readTask(void const * argument)
{
  /* Dat ten nham roi, sua lai thanh check ket noi wifi va gui cmd */
  /* Infinite loop */
  for(;;)
  {
		if (check_wifi() == 0){
			//connect with wifi fail
			//blink led red to reconnect
			control_LED(1, OFF);
		}
		else if (check_wifi() == 2){
			//smart config begin
			blink_led();
			HAL_Delay(100);
		}
		else if (check_wifi() == 1){
			control_LED(1, ON);
			//serial_write(data_send_GAS, strlen(data_send_GAS));
			//HAL_Delay(200);
			//serial_write(data_send_DHT11, strlen(data_send_DHT11));
			//HAL_Delay(200);
			//sendSensor();
			//send_stream();
		}
		osDelay(100);
  }
  /* USER CODE END Uart_readTask */
}

void HAL_TIM_PeriodElapsedCallback(TIM_HandleTypeDef *htim)
{
  if (htim->Instance == TIM10) {
    HAL_IncTick();
  }
}

void Error_Handler(void)
{
}

/************************ (C) COPYRIGHT STMicroelectronics *****END OF FILE****/
